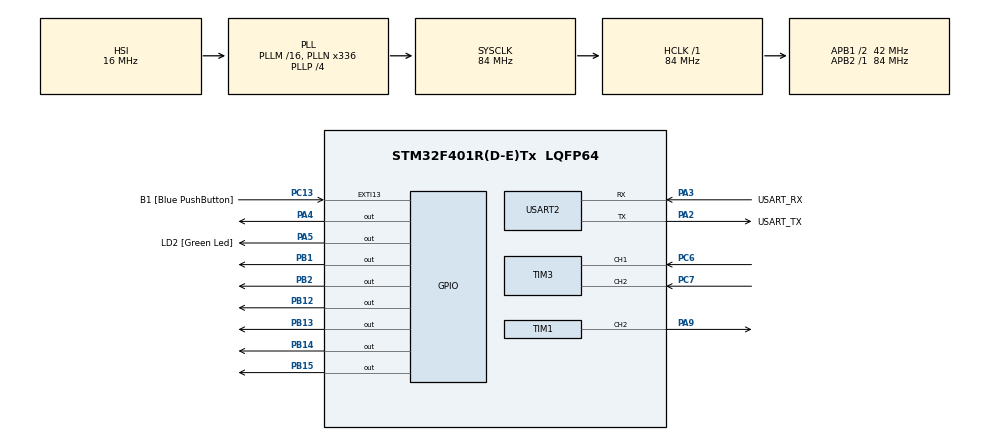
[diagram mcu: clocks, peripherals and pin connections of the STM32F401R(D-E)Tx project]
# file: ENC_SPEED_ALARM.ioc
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Dma.Request0=USART2_TX
Dma.USART2_TX.0.Direction=DMA_MEMORY_TO_PERIPH
Dma.USART2_TX.0.FIFOMode=DMA_FIFOMODE_DISABLE
Dma.USART2_TX.0.Instance=DMA1_Stream6
Dma.USART2_TX.0.MemDataAlignment=DMA_MDATAALIGN_BYTE
Dma.USART2_TX.0.MemInc=DMA_MINC_ENABLE
Dma.USART2_TX.0.Mode=DMA_NORMAL
Dma.USART2_TX.0.PeriphDataAlignment=DMA_PDATAALIGN_BYTE
Dma.USART2_TX.0.PeriphInc=DMA_PINC_DISABLE
Dma.USART2_TX.0.Priority=DMA_PRIORITY_HIGH
Mcu.Family=STM32F4
Mcu.Name=STM32F401R(D-E)Tx
Mcu.Package=LQFP64
NVIC.DMA1_Stream6_IRQn=true\:0\:0\:false\:false\:true\:false\:true\:true
NVIC.PriorityGroup=NVIC_PRIORITYGROUP_4
NVIC.TIM2_IRQn=true\:0\:0\:false\:false\:true\:true\:true\:true
PA13.GPIO_Label=TMS
PA13.Mode=Trace_Asynchronous_SW
PA13.Signal=SYS_JTMS-SWDIO
PA14.GPIO_Label=TCK
PA14.Mode=Trace_Asynchronous_SW
PA14.Signal=SYS_JTCK-SWCLK
PA2.GPIO_Label=USART_TX
PA2.GPIO_Mode=GPIO_MODE_AF_PP
PA2.GPIO_PuPd=GPIO_NOPULL
PA2.GPIO_Speed=GPIO_SPEED_FREQ_LOW
PA2.Mode=Asynchronous
PA2.Signal=USART2_TX
PA3.GPIO_Label=USART_RX
PA3.GPIO_Mode=GPIO_MODE_AF_PP
PA3.GPIO_PuPd=GPIO_NOPULL
PA3.GPIO_Speed=GPIO_SPEED_FREQ_LOW
PA3.Mode=Asynchronous
PA3.Signal=USART2_RX
PA4.Signal=GPIO_Output
PA5.GPIO_Label=LD2 [Green Led]
PA5.GPIO_Mode=GPIO_MODE_OUTPUT_PP
PA5.GPIO_PuPd=GPIO_NOPULL
PA5.GPIO_Speed=GPIO_SPEED_FREQ_LOW
PA5.Signal=GPIO_Output
PA9.Signal=S_TIM1_CH2
PB1.Signal=GPIO_Output
PB12.Signal=GPIO_Output
PB13.Signal=GPIO_Output
PB14.Signal=GPIO_Output
PB15.Signal=GPIO_Output
PB2.Signal=GPIO_Output
PB3.GPIO_Label=SWO
PB3.Mode=Trace_Asynchronous_SW
PB3.Signal=SYS_JTDO-SWO
PC13-ANTI_TAMP.GPIO_Label=B1 [Blue PushButton]
PC13-ANTI_TAMP.GPIO_ModeDefaultEXTI=GPIO_MODE_IT_FALLING
PC13-ANTI_TAMP.GPIO_PuPd=GPIO_NOPULL
PC13-ANTI_TAMP.Signal=GPXTI13
PC14-OSC32_IN.Mode=LSE-External-Oscillator
PC14-OSC32_IN.Signal=RCC_OSC32_IN
PC15-OSC32_OUT.Mode=LSE-External-Oscillator
PC15-OSC32_OUT.Signal=RCC_OSC32_OUT
PC6.Signal=S_TIM3_CH1
PC7.Signal=S_TIM3_CH2
PH0\ -\ OSC_IN.Mode=HSE-External-Clock-Source
PH0\ -\ OSC_IN.Signal=RCC_OSC_IN
PH1\ -\ OSC_OUT.Mode=HSE-External-Clock-Source
PH1\ -\ OSC_OUT.Signal=RCC_OSC_OUT
ProjectManager.HeapSize=0x200
ProjectManager.StackSize=0x400
ProjectManager.TargetToolchain=STM32CubeIDE
RCC.48MHZClocksFreq_Value=48000000
RCC.AHBFreq_Value=84000000
RCC.APB1CLKDivider=RCC_HCLK_DIV2
RCC.APB1Freq_Value=42000000
RCC.APB1TimFreq_Value=84000000
RCC.APB2Freq_Value=84000000
RCC.APB2TimFreq_Value=84000000
RCC.CortexFreq_Value=84000000
RCC.HCLKFreq_Value=84000000
RCC.HSE_VALUE=8000000
RCC.HSI_VALUE=16000000
RCC.PLLN=336
RCC.PLLP=RCC_PLLP_DIV4
RCC.PLLQ=7
RCC.SYSCLKFreq_VALUE=84000000
RCC.SYSCLKSource=RCC_SYSCLKSOURCE_PLLCLK
RCC.VCOOutputFreq_Value=336000000
SH.S_TIM1_CH2.0=TIM1_CH2,PWM Generation2 CH2
SH.S_TIM3_CH1.0=TIM3_CH1,Encoder_Interface
SH.S_TIM3_CH2.0=TIM3_CH2,Encoder_Interface
TIM1.Channel-PWM\ Generation2\ CH2=TIM_CHANNEL_2
TIM1.Period=1909
TIM1.Prescaler=99
TIM1.Pulse-PWM\ Generation2\ CH2=954
TIM2.Period=839
TIM2.Prescaler=9999
TIM3.ClockDivision=TIM_CLOCKDIVISION_DIV4
TIM3.IC1Filter=15
TIM3.IC1Polarity=TIM_ICPOLARITY_FALLING
USART2.VirtualMode=VM_ASYNC
VP_TIM1_VS_ClockSourceINT.Mode=Internal
VP_TIM2_VS_ClockSourceINT.Mode=Internal
board=NUCLEO-F401RE

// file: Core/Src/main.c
/* USER CODE BEGIN Header */
/**
  ******************************************************************************
  * @file           : main.c
  * @brief          : Main program body
  ******************************************************************************
  * @attention
  *
  * Copyright (c) 2026 STMicroelectronics.
  * All rights reserved.
  *
  * This software is licensed under terms that can be found in the LICENSE file
  * in the root directory of this software component.
  * If no LICENSE file comes with this software, it is provided AS-IS.
  *
  ******************************************************************************
  */
/* USER CODE END Header */
#include "main.h"

/* USER CODE BEGIN Includes */
#include "PMDB16_LCD.h"
#include "stdio.h"
#include "string.h"

/* USER CODE END Includes */

/* USER CODE BEGIN PD */
#define STEPS_PER_REVOLUTION 24
/* USER CODE END PD */

TIM_HandleTypeDef htim1;
TIM_HandleTypeDef htim2;
TIM_HandleTypeDef htim3;

UART_HandleTypeDef huart2;
DMA_HandleTypeDef hdma_usart2_tx;

/* USER CODE BEGIN PV */

// LCD
char line1[17];
char line2[17];
uint8_t first_time=1;

// ENCODER
float rpm;
float old_rpm =0.0f;
static uint16_t value;
static uint16_t past_value=0;
static int32_t position=0;

volatile uint8_t data_ready=0;

// Buzzer
uint8_t playing=0;

/* USER CODE END PV */

void SystemClock_Config(void);
static void MX_GPIO_Init(void);
static void MX_DMA_Init(void);
static void MX_USART2_UART_Init(void);
static void MX_TIM2_Init(void);
static void MX_TIM3_Init(void);
static void MX_TIM1_Init(void);

/* USER CODE BEGIN 0 */
void HAL_TIM_PeriodElapsedCallback(TIM_HandleTypeDef *htim)
{
    if (htim->Instance == TIM2) // 10Hz
    {
    	value = __HAL_TIM_GET_COUNTER(&htim3); // Leggiamo il valore del Counter

    	int16_t delta = (int16_t) (value-past_value); // Calcoliamo di quanto ci siamo spostati

    	position+=delta; // La posizione accumula gli step

    	rpm = ((float)delta*10.0/STEPS_PER_REVOLUTION)*60.0f; // Revolutions Per Minute
    	// delta viene diviso per il numero di step in una rivoluzione, moltiplicato per 60s,
    	// moltiplicato per f=10Hz in questo caso

    	past_value=value; // Aggiorniamo

    	// Se il valore è cambiato
    	if((rpm!=old_rpm)){
    		// Mostriamo il nuovo valore sull'LCD
    		data_ready=1;
    		// Controlliamo se dobbiamo suonare il buzzer
    		// Segno
    		float abs_rpm;
    		if(rpm<0){
    			abs_rpm=-rpm;
    		}else{
    			abs_rpm=rpm;
    		}
    		// Sopra soglia (non stavamo suonando)
        	if(abs_rpm>120.0f && !playing){
        		playing=1;
        		HAL_TIM_PWM_Start(&htim1, TIM_CHANNEL_2); // Inizia a suonare
        	}

        	// Sotto soglia (stavamo suonando)
        	if(playing && abs_rpm<100.0f){
        		playing=0;
        		HAL_TIM_PWM_Stop(&htim1, TIM_CHANNEL_2); // Smetti di suonare
        	}
    	}

    	if(first_time){
    		data_ready=1;
    		first_time=0;
    	}

    	old_rpm=rpm;
    }
}

/* USER CODE END 0 */

int main(void)
{

  /* MCU Configuration--------------------------------------------------------*/

  /* Reset of all peripherals, Initializes the Flash interface and the Systick. */
  HAL_Init();

  /* Configure the system clock */
  SystemClock_Config();

  /* Initialize all configured peripherals */
  MX_GPIO_Init();
  MX_DMA_Init();
  MX_USART2_UART_Init();
  MX_TIM2_Init();
  MX_TIM3_Init();
  MX_TIM1_Init();
  /* USER CODE BEGIN 2 */
  HAL_TIM_Encoder_Start(&htim3, TIM_CHANNEL_ALL); // Inizializza Encoder
  HAL_TIM_Base_Start_IT(&htim2); // Interrupt 1Hz
  lcd_initialize(); // LCD
  lcd_backlight_ON();

  /* USER CODE END 2 */

  /* Infinite loop */
  while (1)
  {

    /* USER CODE BEGIN 3 */
	  if(data_ready){
		  data_ready=0;

		  //LCD
		  sprintf(line1, "Pos: %ld", position);
		  sprintf(line2, "RPM: %+.1f", rpm);
		  lcd_clear();
		  lcd_println(line1, 0);
		  lcd_println(line2, 1);
	  }
  }
  /* USER CODE END 3 */
}

void SystemClock_Config(void)
{
  RCC_OscInitTypeDef RCC_OscInitStruct = {0};
  RCC_ClkInitTypeDef RCC_ClkInitStruct = {0};

  /** Configure the main internal regulator output voltage
  */
  __HAL_RCC_PWR_CLK_ENABLE();
  __HAL_PWR_VOLTAGESCALING_CONFIG(PWR_REGULATOR_VOLTAGE_SCALE2);

  /** Initializes the RCC Oscillators according to the specified parameters
  * in the RCC_OscInitTypeDef structure.
  */
  RCC_OscInitStruct.OscillatorType = RCC_OSCILLATORTYPE_HSI;
  RCC_OscInitStruct.HSIState = RCC_HSI_ON;
  RCC_OscInitStruct.HSICalibrationValue = RCC_HSICALIBRATION_DEFAULT;
  RCC_OscInitStruct.PLL.PLLState = RCC_PLL_ON;
  RCC_OscInitStruct.PLL.PLLSource = RCC_PLLSOURCE_HSI;
  RCC_OscInitStruct.PLL.PLLM = 16;
  RCC_OscInitStruct.PLL.PLLN = 336;
  RCC_OscInitStruct.PLL.PLLP = RCC_PLLP_DIV4;
  RCC_OscInitStruct.PLL.PLLQ = 7;
  if (HAL_RCC_OscConfig(&RCC_OscInitStruct) != HAL_OK)
  {
    Error_Handler();
  }

  /** Initializes the CPU, AHB and APB buses clocks
  */
  RCC_ClkInitStruct.ClockType = RCC_CLOCKTYPE_HCLK|RCC_CLOCKTYPE_SYSCLK
                              |RCC_CLOCKTYPE_PCLK1|RCC_CLOCKTYPE_PCLK2;
  RCC_ClkInitStruct.SYSCLKSource = RCC_SYSCLKSOURCE_PLLCLK;
  RCC_ClkInitStruct.AHBCLKDivider = RCC_SYSCLK_DIV1;
  RCC_ClkInitStruct.APB1CLKDivider = RCC_HCLK_DIV2;
  RCC_ClkInitStruct.APB2CLKDivider = RCC_HCLK_DIV1;

  if (HAL_RCC_ClockConfig(&RCC_ClkInitStruct, FLASH_LATENCY_2) != HAL_OK)
  {
    Error_Handler();
  }
}

static void MX_TIM1_Init(void)
{

  TIM_ClockConfigTypeDef sClockSourceConfig = {0};
  TIM_MasterConfigTypeDef sMasterConfig = {0};
  TIM_OC_InitTypeDef sConfigOC = {0};
  TIM_BreakDeadTimeConfigTypeDef sBreakDeadTimeConfig = {0};

  htim1.Instance = TIM1;
  htim1.Init.Prescaler = 99;
  htim1.Init.CounterMode = TIM_COUNTERMODE_UP;
  htim1.Init.Period = 1909;
  htim1.Init.ClockDivision = TIM_CLOCKDIVISION_DIV1;
  htim1.Init.RepetitionCounter = 0;
  htim1.Init.AutoReloadPreload = TIM_AUTORELOAD_PRELOAD_DISABLE;
  if (HAL_TIM_Base_Init(&htim1) != HAL_OK)
  {
    Error_Handler();
  }
  sClockSourceConfig.ClockSource = TIM_CLOCKSOURCE_INTERNAL;
  if (HAL_TIM_ConfigClockSource(&htim1, &sClockSourceConfig) != HAL_OK)
  {
    Error_Handler();
  }
  if (HAL_TIM_PWM_Init(&htim1) != HAL_OK)
  {
    Error_Handler();
  }
  sMasterConfig.MasterOutputTrigger = TIM_TRGO_RESET;
  sMasterConfig.MasterSlaveMode = TIM_MASTERSLAVEMODE_DISABLE;
  if (HAL_TIMEx_MasterConfigSynchronization(&htim1, &sMasterConfig) != HAL_OK)
  {
    Error_Handler();
  }
  sConfigOC.OCMode = TIM_OCMODE_PWM1;
  sConfigOC.Pulse = 954;
  sConfigOC.OCPolarity = TIM_OCPOLARITY_HIGH;
  sConfigOC.OCNPolarity = TIM_OCNPOLARITY_HIGH;
  sConfigOC.OCFastMode = TIM_OCFAST_DISABLE;
  sConfigOC.OCIdleState = TIM_OCIDLESTATE_RESET;
  sConfigOC.OCNIdleState = TIM_OCNIDLESTATE_RESET;
  if (HAL_TIM_PWM_ConfigChannel(&htim1, &sConfigOC, TIM_CHANNEL_2) != HAL_OK)
  {
    Error_Handler();
  }
  sBreakDeadTimeConfig.OffStateRunMode = TIM_OSSR_DISABLE;
  sBreakDeadTimeConfig.OffStateIDLEMode = TIM_OSSI_DISABLE;
  sBreakDeadTimeConfig.LockLevel = TIM_LOCKLEVEL_OFF;
  sBreakDeadTimeConfig.DeadTime = 0;
  sBreakDeadTimeConfig.BreakState = TIM_BREAK_DISABLE;
  sBreakDeadTimeConfig.BreakPolarity = TIM_BREAKPOLARITY_HIGH;
  sBreakDeadTimeConfig.AutomaticOutput = TIM_AUTOMATICOUTPUT_DISABLE;
  if (HAL_TIMEx_ConfigBreakDeadTime(&htim1, &sBreakDeadTimeConfig) != HAL_OK)
  {
    Error_Handler();
  }
  HAL_TIM_MspPostInit(&htim1);

}

static void MX_TIM2_Init(void)
{

  TIM_ClockConfigTypeDef sClockSourceConfig = {0};
  TIM_MasterConfigTypeDef sMasterConfig = {0};

  htim2.Instance = TIM2;
  htim2.Init.Prescaler = 9999;
  htim2.Init.CounterMode = TIM_COUNTERMODE_UP;
  htim2.Init.Period = 839;
  htim2.Init.ClockDivision = TIM_CLOCKDIVISION_DIV1;
  htim2.Init.AutoReloadPreload = TIM_AUTORELOAD_PRELOAD_DISABLE;
  if (HAL_TIM_Base_Init(&htim2) != HAL_OK)
  {
    Error_Handler();
  }
  sClockSourceConfig.ClockSource = TIM_CLOCKSOURCE_INTERNAL;
  if (HAL_TIM_ConfigClockSource(&htim2, &sClockSourceConfig) != HAL_OK)
  {
    Error_Handler();
  }
  sMasterConfig.MasterOutputTrigger = TIM_TRGO_RESET;
  sMasterConfig.MasterSlaveMode = TIM_MASTERSLAVEMODE_DISABLE;
  if (HAL_TIMEx_MasterConfigSynchronization(&htim2, &sMasterConfig) != HAL_OK)
  {
    Error_Handler();
  }

}

static void MX_TIM3_Init(void)
{

  TIM_Encoder_InitTypeDef sConfig = {0};
  TIM_MasterConfigTypeDef sMasterConfig = {0};

  htim3.Instance = TIM3;
  htim3.Init.Prescaler = 0;
  htim3.Init.CounterMode = TIM_COUNTERMODE_UP;
  htim3.Init.Period = 65535;
  htim3.Init.ClockDivision = TIM_CLOCKDIVISION_DIV4;
  htim3.Init.AutoReloadPreload = TIM_AUTORELOAD_PRELOAD_DISABLE;
  sConfig.EncoderMode = TIM_ENCODERMODE_TI1;
  sConfig.IC1Polarity = TIM_ICPOLARITY_FALLING;
  sConfig.IC1Selection = TIM_ICSELECTION_DIRECTTI;
  sConfig.IC1Prescaler = TIM_ICPSC_DIV1;
  sConfig.IC1Filter = 15;
  sConfig.IC2Polarity = TIM_ICPOLARITY_RISING;
  sConfig.IC2Selection = TIM_ICSELECTION_DIRECTTI;
  sConfig.IC2Prescaler = TIM_ICPSC_DIV1;
  sConfig.IC2Filter = 0;
  if (HAL_TIM_Encoder_Init(&htim3, &sConfig) != HAL_OK)
  {
    Error_Handler();
  }
  sMasterConfig.MasterOutputTrigger = TIM_TRGO_RESET;
  sMasterConfig.MasterSlaveMode = TIM_MASTERSLAVEMODE_DISABLE;
  if (HAL_TIMEx_MasterConfigSynchronization(&htim3, &sMasterConfig) != HAL_OK)
  {
    Error_Handler();
  }

}

static void MX_USART2_UART_Init(void)
{

  huart2.Instance = USART2;
  huart2.Init.BaudRate = 115200;
  huart2.Init.WordLength = UART_WORDLENGTH_8B;
  huart2.Init.StopBits = UART_STOPBITS_1;
  huart2.Init.Parity = UART_PARITY_NONE;
  huart2.Init.Mode = UART_MODE_TX_RX;
  huart2.Init.HwFlowCtl = UART_HWCONTROL_NONE;
  huart2.Init.OverSampling = UART_OVERSAMPLING_16;
  if (HAL_UART_Init(&huart2) != HAL_OK)
  {
    Error_Handler();
  }

}

static void MX_DMA_Init(void)
{

  /* DMA controller clock enable */
  __HAL_RCC_DMA1_CLK_ENABLE();

  /* DMA interrupt init */
  /* DMA1_Stream6_IRQn interrupt configuration */
  HAL_NVIC_SetPriority(DMA1_Stream6_IRQn, 0, 0);
  HAL_NVIC_EnableIRQ(DMA1_Stream6_IRQn);

}

static void MX_GPIO_Init(void)
{
  GPIO_InitTypeDef GPIO_InitStruct = {0};

  /* GPIO Ports Clock Enable */
  __HAL_RCC_GPIOC_CLK_ENABLE();
  __HAL_RCC_GPIOH_CLK_ENABLE();
  __HAL_RCC_GPIOA_CLK_ENABLE();
  __HAL_RCC_GPIOB_CLK_ENABLE();

  /*Configure GPIO pin Output Level */
  HAL_GPIO_WritePin(GPIOA, GPIO_PIN_4|LD2_Pin, GPIO_PIN_RESET);

  /*Configure GPIO pin Output Level */
  HAL_GPIO_WritePin(GPIOB, GPIO_PIN_1|GPIO_PIN_2|GPIO_PIN_12|GPIO_PIN_13
                          |GPIO_PIN_14|GPIO_PIN_15, GPIO_PIN_RESET);

  /*Configure GPIO pin : B1_Pin */
  GPIO_InitStruct.Pin = B1_Pin;
  GPIO_InitStruct.Mode = GPIO_MODE_IT_FALLING;
  GPIO_InitStruct.Pull = GPIO_NOPULL;
  HAL_GPIO_Init(B1_GPIO_Port, &GPIO_InitStruct);

  /*Configure GPIO pins : PA4 LD2_Pin */
  GPIO_InitStruct.Pin = GPIO_PIN_4|LD2_Pin;
  GPIO_InitStruct.Mode = GPIO_MODE_OUTPUT_PP;
  GPIO_InitStruct.Pull = GPIO_NOPULL;
  GPIO_InitStruct.Speed = GPIO_SPEED_FREQ_LOW;
  HAL_GPIO_Init(GPIOA, &GPIO_InitStruct);

  /*Configure GPIO pins : PB1 PB2 PB12 PB13
                           PB14 PB15 */
  GPIO_InitStruct.Pin = GPIO_PIN_1|GPIO_PIN_2|GPIO_PIN_12|GPIO_PIN_13
                          |GPIO_PIN_14|GPIO_PIN_15;
  GPIO_InitStruct.Mode = GPIO_MODE_OUTPUT_PP;
  GPIO_InitStruct.Pull = GPIO_NOPULL;
  GPIO_InitStruct.Speed = GPIO_SPEED_FREQ_LOW;
  HAL_GPIO_Init(GPIOB, &GPIO_InitStruct);

}

void Error_Handler(void)
{
  __disable_irq();
  while (1)
  {
  }
}
